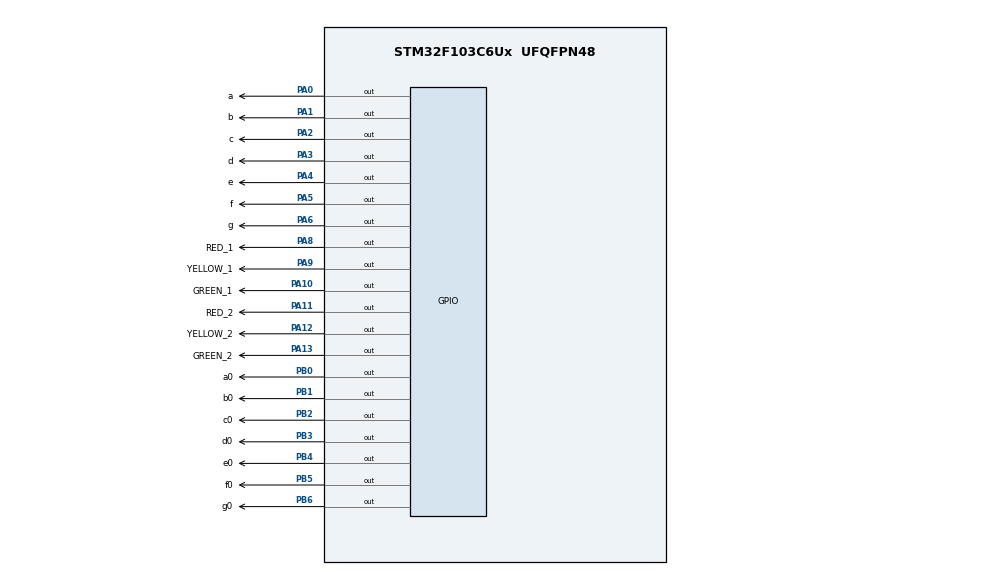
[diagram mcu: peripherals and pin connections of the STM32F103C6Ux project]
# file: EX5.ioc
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Mcu.Family=STM32F1
Mcu.Name=STM32F103C6Ux
Mcu.Package=UFQFPN48
NVIC.PriorityGroup=NVIC_PRIORITYGROUP_4
PA0-WKUP.GPIO_Label=a
PA0-WKUP.Signal=GPIO_Output
PA1.GPIO_Label=b
PA1.Signal=GPIO_Output
PA10.GPIO_Label=GREEN_1
PA10.Signal=GPIO_Output
PA11.GPIO_Label=RED_2
PA11.Signal=GPIO_Output
PA12.GPIO_Label=YELLOW_2
PA12.Signal=GPIO_Output
PA13.GPIO_Label=GREEN_2
PA13.Signal=GPIO_Output
PA2.GPIO_Label=c
PA2.Signal=GPIO_Output
PA3.GPIO_Label=d
PA3.Signal=GPIO_Output
PA4.GPIO_Label=e
PA4.Signal=GPIO_Output
PA5.GPIO_Label=f
PA5.Signal=GPIO_Output
PA6.GPIO_Label=g
PA6.Signal=GPIO_Output
PA8.GPIO_Label=RED_1
PA8.Signal=GPIO_Output
PA9.GPIO_Label=YELLOW_1
PA9.Signal=GPIO_Output
PB0.GPIO_Label=a0
PB0.Signal=GPIO_Output
PB1.GPIO_Label=b0
PB1.Signal=GPIO_Output
PB2.GPIO_Label=c0
PB2.Signal=GPIO_Output
PB3.GPIO_Label=d0
PB3.Signal=GPIO_Output
PB4.GPIO_Label=e0
PB4.Signal=GPIO_Output
PB5.GPIO_Label=f0
PB5.Signal=GPIO_Output
PB6.GPIO_Label=g0
PB6.Signal=GPIO_Output
ProjectManager.HeapSize=0x200
ProjectManager.StackSize=0x400
ProjectManager.TargetToolchain=STM32CubeIDE
RCC.APB1Freq_Value=8000000
RCC.APB2Freq_Value=8000000
VP_SYS_VS_ND.Mode=No_Debug
board=custom

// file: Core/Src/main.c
/* USER CODE BEGIN Header */
/**
  ******************************************************************************
  * @file           : main.c
  * @brief          : Main program body
  ******************************************************************************
  * @attention
  *
  * <h2><center>&copy; Copyright (c) 2022 STMicroelectronics.
  * All rights reserved.</center></h2>
  *
  * This software component is licensed by ST under BSD 3-Clause license,
  * the "License"; You may not use this file except in compliance with the
  * License. You may obtain a copy of the License at:
  *                        opensource.org/licenses/BSD-3-Clause
  *
  ******************************************************************************
  */
/* USER CODE END Header */
#include "main.h"

void SystemClock_Config(void);
static void MX_GPIO_Init(void);

/* USER CODE BEGIN 0 */
void display7SEG(int num){
	//reset port
	HAL_GPIO_WritePin (GPIOA,a_Pin|b_Pin|c_Pin|d_Pin|e_Pin|f_Pin|g_Pin, GPIO_PIN_SET ) ;
	switch(num){
	case 0:
		HAL_GPIO_TogglePin (GPIOA,a_Pin|b_Pin|c_Pin|d_Pin|e_Pin|f_Pin) ;
		break;
	case 1:
		HAL_GPIO_TogglePin (GPIOA ,b_Pin|c_Pin ) ;
		break;
	case 2:
		HAL_GPIO_TogglePin (GPIOA,a_Pin|b_Pin|g_Pin|d_Pin|e_Pin) ;
		break;
	case 3:
		HAL_GPIO_TogglePin (GPIOA,a_Pin|b_Pin|g_Pin|c_Pin|d_Pin) ;
		break;
	case 4:
		HAL_GPIO_TogglePin (GPIOA,f_Pin|g_Pin|b_Pin|c_Pin) ;
		break;
	case 5:
		HAL_GPIO_TogglePin (GPIOA,a_Pin|f_Pin|g_Pin|c_Pin|d_Pin) ;
		break;
	case 6 :
		HAL_GPIO_TogglePin (GPIOA,a_Pin|f_Pin|g_Pin|e_Pin|c_Pin|d_Pin) ;
		break;
	case 7 :
		HAL_GPIO_TogglePin (GPIOA ,a_Pin|b_Pin|c_Pin ) ;
		break;
	case 8:
		HAL_GPIO_TogglePin (GPIOA,a_Pin|b_Pin|c_Pin|d_Pin|e_Pin|f_Pin|g_Pin) ;
		break;
	case 9:
		HAL_GPIO_TogglePin (GPIOA,a_Pin|b_Pin|c_Pin|d_Pin|f_Pin|g_Pin) ;
		break;
	}
	return;
}
void display7SEG_0(int num){
	//reset port
	HAL_GPIO_WritePin (GPIOB,a0_Pin|b0_Pin|c0_Pin|d0_Pin|e0_Pin|f0_Pin|g0_Pin, GPIO_PIN_SET ) ;
	switch(num){
	case 0:
		HAL_GPIO_TogglePin (GPIOB,a0_Pin|b0_Pin|c0_Pin|d0_Pin|e0_Pin|f0_Pin) ;
		break;
	case 1:
		HAL_GPIO_TogglePin (GPIOB ,b0_Pin|c0_Pin ) ;
		break;
	case 2:
		HAL_GPIO_TogglePin (GPIOB,a0_Pin|b0_Pin|g0_Pin|d0_Pin|e0_Pin) ;
		break;
	case 3:
		HAL_GPIO_TogglePin (GPIOB,a0_Pin|b0_Pin|g0_Pin|c0_Pin|d0_Pin) ;
		break;
	case 4:
		HAL_GPIO_TogglePin (GPIOB,f0_Pin|g0_Pin|b0_Pin|c0_Pin) ;
		break;
	case 5:
		HAL_GPIO_TogglePin (GPIOB,a0_Pin|f0_Pin|g0_Pin|c0_Pin|d0_Pin) ;
		break;
	case 6 :
		HAL_GPIO_TogglePin (GPIOB,a0_Pin|f0_Pin|g0_Pin|e0_Pin|c0_Pin|d0_Pin) ;
		break;
	case 7 :
		HAL_GPIO_TogglePin (GPIOB ,a0_Pin|b0_Pin|c0_Pin ) ;
		break;
	case 8:
		HAL_GPIO_TogglePin (GPIOB,a0_Pin|b0_Pin|c0_Pin|d0_Pin|e0_Pin|f0_Pin|g0_Pin) ;
		break;
	case 9:
		HAL_GPIO_TogglePin (GPIOB,a0_Pin|b0_Pin|c0_Pin|d0_Pin|f0_Pin|g0_Pin) ;
		break;
	}
	return;
}
int state = 1;
int second = -1; int second_tmp;
int red = 5;
int yellow = 2;
int green = 3;

void two_lightcontrol (){
	  if(second == -1){
	    switch (state){
	    	case 1: // RED 1 time 5s
	    		state = 3;
	    		second += red;
	    		HAL_GPIO_WritePin(RED_1_GPIO_Port, RED_1_Pin, GPIO_PIN_RESET);
	    		HAL_GPIO_WritePin(YELLOW_1_GPIO_Port, YELLOW_1_Pin, GPIO_PIN_SET);
	    		HAL_GPIO_WritePin(GREEN_1_GPIO_Port, GREEN_1_Pin, GPIO_PIN_SET);

			  	second_tmp = green -1;
	    		HAL_GPIO_WritePin(GREEN_2_GPIO_Port, GREEN_2_Pin, GPIO_PIN_RESET); // GREEN 2 Light
	    		HAL_GPIO_WritePin(YELLOW_2_GPIO_Port, YELLOW_2_Pin, GPIO_PIN_SET);
	    		HAL_GPIO_WritePin(RED_2_GPIO_Port, RED_2_Pin, GPIO_PIN_SET);
	    		break;
	    	case 2:// YELLOW 1 time 2s
	    		state = 1;
	    		second += yellow;
	    		HAL_GPIO_WritePin(GREEN_1_GPIO_Port, GREEN_1_Pin, GPIO_PIN_SET);
	    		HAL_GPIO_WritePin(YELLOW_1_GPIO_Port, YELLOW_1_Pin, GPIO_PIN_RESET);
	    		break;
	    	case 3: // GREEN 1 time 3s
	    		state = 2;
	    		second += green;
	    		HAL_GPIO_WritePin(RED_1_GPIO_Port, RED_1_Pin, GPIO_PIN_SET);
	    		HAL_GPIO_WritePin(GREEN_1_GPIO_Port, GREEN_1_Pin, GPIO_PIN_RESET);

			  	second_tmp = red -1;
	    		HAL_GPIO_WritePin(YELLOW_2_GPIO_Port, YELLOW_2_Pin, GPIO_PIN_SET);// YELLOW 2 Off
	    		HAL_GPIO_WritePin(RED_2_GPIO_Port, RED_2_Pin, GPIO_PIN_RESET); // RED 2 Light
	    		break;
	    }
	  }
	  else if (second == yellow -1 && state == 3){
		  	second_tmp = yellow -1;
			HAL_GPIO_WritePin(GREEN_2_GPIO_Port, GREEN_2_Pin, GPIO_PIN_SET); // GREEN 2 Off
			HAL_GPIO_WritePin(YELLOW_2_GPIO_Port, YELLOW_2_Pin, GPIO_PIN_RESET);// YELLOW 2 Light
		}
}
/* USER CODE END 0 */

int main(void)
{

  /* MCU Configuration--------------------------------------------------------*/

  /* Reset of all peripherals, Initializes the Flash interface and the Systick. */
  HAL_Init();

  /* Configure the system clock */
  SystemClock_Config();

  /* Initialize all configured peripherals */
  MX_GPIO_Init();

  /* Infinite loop */
  while (1)
  {

	    /* USER CODE BEGIN 3 */
	two_lightcontrol();

	display7SEG(second--) ;
	display7SEG_0(second_tmp--);
	HAL_Delay(1000);
  }
  /* USER CODE END 3 */
}

void SystemClock_Config(void)
{
  RCC_OscInitTypeDef RCC_OscInitStruct = {0};
  RCC_ClkInitTypeDef RCC_ClkInitStruct = {0};

  /** Initializes the RCC Oscillators according to the specified parameters
  * in the RCC_OscInitTypeDef structure.
  */
  RCC_OscInitStruct.OscillatorType = RCC_OSCILLATORTYPE_HSI;
  RCC_OscInitStruct.HSIState = RCC_HSI_ON;
  RCC_OscInitStruct.HSICalibrationValue = RCC_HSICALIBRATION_DEFAULT;
  RCC_OscInitStruct.PLL.PLLState = RCC_PLL_NONE;
  if (HAL_RCC_OscConfig(&RCC_OscInitStruct) != HAL_OK)
  {
    Error_Handler();
  }
  /** Initializes the CPU, AHB and APB buses clocks
  */
  RCC_ClkInitStruct.ClockType = RCC_CLOCKTYPE_HCLK|RCC_CLOCKTYPE_SYSCLK
                              |RCC_CLOCKTYPE_PCLK1|RCC_CLOCKTYPE_PCLK2;
  RCC_ClkInitStruct.SYSCLKSource = RCC_SYSCLKSOURCE_HSI;
  RCC_ClkInitStruct.AHBCLKDivider = RCC_SYSCLK_DIV1;
  RCC_ClkInitStruct.APB1CLKDivider = RCC_HCLK_DIV1;
  RCC_ClkInitStruct.APB2CLKDivider = RCC_HCLK_DIV1;

  if (HAL_RCC_ClockConfig(&RCC_ClkInitStruct, FLASH_LATENCY_0) != HAL_OK)
  {
    Error_Handler();
  }
}

static void MX_GPIO_Init(void)
{
  GPIO_InitTypeDef GPIO_InitStruct = {0};

  /* GPIO Ports Clock Enable */
  __HAL_RCC_GPIOA_CLK_ENABLE();
  __HAL_RCC_GPIOB_CLK_ENABLE();

  /*Configure GPIO pin Output Level */
  HAL_GPIO_WritePin(GPIOA, a_Pin|b_Pin|c_Pin|d_Pin
                          |e_Pin|f_Pin|g_Pin|RED_1_Pin
                          |YELLOW_1_Pin|GREEN_1_Pin|RED_2_Pin|YELLOW_2_Pin
                          |GREEN_2_Pin, GPIO_PIN_RESET);

  /*Configure GPIO pin Output Level */
  HAL_GPIO_WritePin(GPIOB, a0_Pin|b0_Pin|c0_Pin|d0_Pin
                          |e0_Pin|f0_Pin|g0_Pin, GPIO_PIN_RESET);

  /*Configure GPIO pins : a_Pin b_Pin c_Pin d_Pin
                           e_Pin f_Pin g_Pin RED_1_Pin
                           YELLOW_1_Pin GREEN_1_Pin RED_2_Pin YELLOW_2_Pin
                           GREEN_2_Pin */
  GPIO_InitStruct.Pin = a_Pin|b_Pin|c_Pin|d_Pin
                          |e_Pin|f_Pin|g_Pin|RED_1_Pin
                          |YELLOW_1_Pin|GREEN_1_Pin|RED_2_Pin|YELLOW_2_Pin
                          |GREEN_2_Pin;
  GPIO_InitStruct.Mode = GPIO_MODE_OUTPUT_PP;
  GPIO_InitStruct.Pull = GPIO_NOPULL;
  GPIO_InitStruct.Speed = GPIO_SPEED_FREQ_LOW;
  HAL_GPIO_Init(GPIOA, &GPIO_InitStruct);

  /*Configure GPIO pins : a0_Pin b0_Pin c0_Pin d0_Pin
                           e0_Pin f0_Pin g0_Pin */
  GPIO_InitStruct.Pin = a0_Pin|b0_Pin|c0_Pin|d0_Pin
                          |e0_Pin|f0_Pin|g0_Pin;
  GPIO_InitStruct.Mode = GPIO_MODE_OUTPUT_PP;
  GPIO_InitStruct.Pull = GPIO_NOPULL;
  GPIO_InitStruct.Speed = GPIO_SPEED_FREQ_LOW;
  HAL_GPIO_Init(GPIOB, &GPIO_InitStruct);

}

void Error_Handler(void)
{
  __disable_irq();
  while (1)
  {
  }
}

/************************ (C) COPYRIGHT STMicroelectronics *****END OF FILE****/
